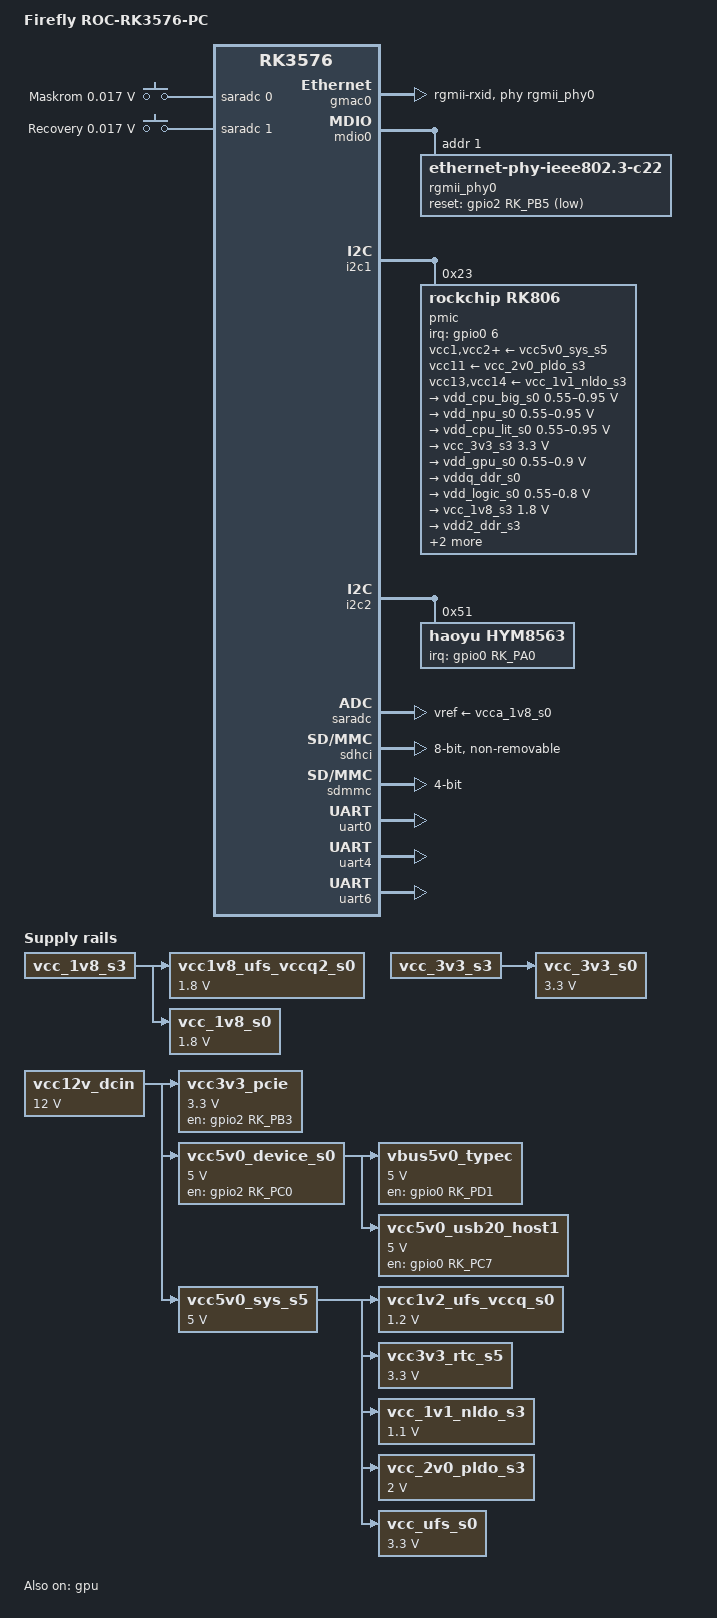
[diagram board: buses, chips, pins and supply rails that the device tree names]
// SPDX-License-Identifier: (GPL-2.0+ OR MIT)
/*
 * Copyright (c) 2024 Firefly Technology Co. Ltd
 * Copyright (c) 2024 Heiko Stuebner <heiko@sntech.de>
 */

/dts-v1/;

#include <dt-bindings/gpio/gpio.h>
#include <dt-bindings/input/input.h>
#include <dt-bindings/pinctrl/rockchip.h>
#include <dt-bindings/pwm/pwm.h>
#include <dt-bindings/usb/pd.h>
#include "rk3576.dtsi"

/ {
	model = "Firefly ROC-RK3576-PC";
	compatible = "firefly,roc-rk3576-pc", "rockchip,rk3576";

	aliases {
		mmc0 = &sdhci;
		mmc1 = &sdmmc;
	};

	chosen {
		stdout-path = "serial0:1500000n8";
	};

	adc-keys-0 {
		compatible = "adc-keys";
		io-channels = <&saradc 0>;
		io-channel-names = "buttons";
		keyup-threshold-microvolt = <1800000>;
		poll-interval = <100>;

		button-maskrom {
			label = "Maskrom";
			linux,code = <KEY_SETUP>;
			press-threshold-microvolt = <17000>;
		};
	};

	adc-keys-1 {
		compatible = "adc-keys";
		io-channels = <&saradc 1>;
		io-channel-names = "buttons";
		keyup-threshold-microvolt = <1800000>;
		poll-interval = <100>;

		button-recovery {
			label = "Recovery";
			linux,code = <KEY_VENDOR>;
			press-threshold-microvolt = <17000>;
		};
	};

	vbus5v0_typec: regulator-vbus5v0-typec {
		compatible = "regulator-fixed";
		enable-active-high;
		gpio = <&gpio0 RK_PD1 GPIO_ACTIVE_HIGH>;
		pinctrl-names = "default";
		pinctrl-0 = <&usb_otg0_pwren_h>;
		regulator-name = "vbus5v0_typec";
		regulator-min-microvolt = <5000000>;
		regulator-max-microvolt = <5000000>;
		vin-supply = <&vcc5v0_device_s0>;
	};

	vcc12v_dcin: regulator-vcc12v-dcin {
		compatible = "regulator-fixed";
		regulator-name = "vcc12v_dcin";
		regulator-always-on;
		regulator-boot-on;
		regulator-min-microvolt = <12000000>;
		regulator-max-microvolt = <12000000>;
	};

	vcc1v2_ufs_vccq_s0: regulator-vcc1v2-ufs-vccq-s0 {
		compatible = "regulator-fixed";
		regulator-name = "vcc1v2_ufs_vccq_s0";
		regulator-boot-on;
		regulator-always-on;
		regulator-min-microvolt = <1200000>;
		regulator-max-microvolt = <1200000>;
		vin-supply = <&vcc5v0_sys_s5>;
	};

	vcc1v8_ufs_vccq2_s0: regulator-vcc1v8-ufs-vccq2-s0 {
		compatible = "regulator-fixed";
		regulator-name = "vcc1v8_ufs_vccq2_s0";
		regulator-boot-on;
		regulator-always-on;
		regulator-min-microvolt = <1800000>;
		regulator-max-microvolt = <1800000>;
		vin-supply = <&vcc_1v8_s3>;
	};

	vcc3v3_pcie: regulator-vcc3v3-pcie {
		compatible = "regulator-fixed";
		enable-active-high;
		gpio = <&gpio2 RK_PB3 GPIO_ACTIVE_HIGH>;
		pinctrl-names = "default";
		pinctrl-0 = <&pcie_pwren_h>;
		regulator-name = "vcc3v3_pcie";
		regulator-min-microvolt = <3300000>;
		regulator-max-microvolt = <3300000>;
		startup-delay-us = <5000>;
		vin-supply = <&vcc12v_dcin>;
	};

	vcc3v3_rtc_s5: regulator-vcc3v3-rtc-s5 {
		compatible = "regulator-fixed";
		regulator-name = "vcc3v3_rtc_s5";
		regulator-boot-on;
		regulator-always-on;
		regulator-min-microvolt = <3300000>;
		regulator-max-microvolt = <3300000>;
		vin-supply = <&vcc5v0_sys_s5>;
	};

	vcc5v0_device_s0: regulator-vcc5v0-device-s0 {
		compatible = "regulator-fixed";
		enable-active-high;
		gpio = <&gpio2 RK_PC0 GPIO_ACTIVE_HIGH>;
		pinctrl-names = "default";
		pinctrl-0 = <&vcc5vd_en>;
		regulator-name = "vcc5v0_device";
		regulator-always-on;
		regulator-boot-on;
		regulator-min-microvolt = <5000000>;
		regulator-max-microvolt = <5000000>;
		vin-supply = <&vcc12v_dcin>;
	};

	vcc5v0_sys_s5: regulator-vcc5v0-sys-s5 {
		compatible = "regulator-fixed";
		regulator-name = "vcc_sys";
		regulator-always-on;
		regulator-boot-on;
		regulator-min-microvolt = <5000000>;
		regulator-max-microvolt = <5000000>;
		vin-supply = <&vcc12v_dcin>;
	};

	vcc5v0_usb20_host1: regulator-vcc5v0-usb20-host1 {
		compatible = "regulator-fixed";
		enable-active-high;
		gpio = <&gpio0 RK_PC7 GPIO_ACTIVE_HIGH>;
		pinctrl-names = "default";
		pinctrl-0 = <&usb3_host_pwren_h>;
		regulator-name = "vcc5v0_host1";
		regulator-min-microvolt = <5000000>;
		regulator-max-microvolt = <5000000>;
		vin-supply = <&vcc5v0_device_s0>;
	};

	vcc_1v1_nldo_s3: regulator-vcc-1v1-nldo-s3 {
		compatible = "regulator-fixed";
		regulator-name = "vcc_1v1_nldo_s3";
		regulator-boot-on;
		regulator-always-on;
		regulator-min-microvolt = <1100000>;
		regulator-max-microvolt = <1100000>;
		vin-supply = <&vcc5v0_sys_s5>;
	};

	vcc_1v8_s0: regulator-vcc-1v8-s0 {
		compatible = "regulator-fixed";
		regulator-name = "vcc_1v8_s0";
		regulator-boot-on;
		regulator-always-on;
		regulator-min-microvolt = <1800000>;
		regulator-max-microvolt = <1800000>;
		vin-supply = <&vcc_1v8_s3>;
	};

	vcc_2v0_pldo_s3: regulator-vcc-2v0-pldo-s3 {
		compatible = "regulator-fixed";
		regulator-name = "vcc_2v0_pldo_s3";
		regulator-boot-on;
		regulator-always-on;
		regulator-min-microvolt = <2000000>;
		regulator-max-microvolt = <2000000>;
		vin-supply = <&vcc5v0_sys_s5>;
	};

	vcc_3v3_s0: regulator-vcc-3v3-s0 {
		compatible = "regulator-fixed";
		regulator-name = "vcc_3v3_s0";
		regulator-boot-on;
		regulator-always-on;
		regulator-min-microvolt = <3300000>;
		regulator-max-microvolt = <3300000>;
		vin-supply = <&vcc_3v3_s3>;
	};

	vcc_ufs_s0: regulator-vcc-ufs-s0 {
		compatible = "regulator-fixed";
		regulator-name = "vcc_ufs_s0";
		regulator-boot-on;
		regulator-always-on;
		regulator-min-microvolt = <3300000>;
		regulator-max-microvolt = <3300000>;
		vin-supply = <&vcc5v0_sys_s5>;
	};
};

&cpu_l0 {
	cpu-supply = <&vdd_cpu_lit_s0>;
};

&cpu_l1 {
	cpu-supply = <&vdd_cpu_lit_s0>;
};

&cpu_l2 {
	cpu-supply = <&vdd_cpu_lit_s0>;
};

&cpu_l3 {
	cpu-supply = <&vdd_cpu_lit_s0>;
};

&cpu_b0 {
	cpu-supply = <&vdd_cpu_big_s0>;
};

&cpu_b1 {
	cpu-supply = <&vdd_cpu_big_s0>;
};

&cpu_b2 {
	cpu-supply = <&vdd_cpu_big_s0>;
};

&cpu_b3 {
	cpu-supply = <&vdd_cpu_big_s0>;
};

&gpu {
	mali-supply = <&vdd_gpu_s0>;
	status = "okay";
};

&gmac0 {
	clock_in_out = "output";
	pinctrl-names = "default";
	pinctrl-0 = <&eth0m0_miim
		     &eth0m0_tx_bus2
		     &eth0m0_rx_bus2
		     &eth0m0_rgmii_clk
		     &eth0m0_rgmii_bus
		     &ethm0_clk0_25m_out>;
	/* Use rgmii-rxid mode to disable rx delay inside Soc */
	phy-mode = "rgmii-rxid";
	phy-handle = <&rgmii_phy0>;
	tx_delay = <0x21>;
	status = "okay";
};

&mdio0 {
	status = "okay";

	rgmii_phy0: phy@1 {
		compatible = "ethernet-phy-ieee802.3-c22";
		reg = <0x1>;
		clocks = <&cru REFCLKO25M_GMAC0_OUT>;
		/* Reset time is 20ms, 100ms for rtl8211f */
		reset-delay-us = <20000>;
		reset-gpios = <&gpio2 RK_PB5 GPIO_ACTIVE_LOW>;
		reset-post-delay-us = <100000>;
	};
};

&i2c1 {
	status = "okay";

	pmic@23 {
		compatible = "rockchip,rk806";
		reg = <0x23>;
		interrupt-parent = <&gpio0>;
		interrupts = <6 IRQ_TYPE_LEVEL_LOW>;
		gpio-controller;
		#gpio-cells = <2>;
		pinctrl-names = "default";
		pinctrl-0 = <&pmic_pins>, <&rk806_dvs1_null>,
			    <&rk806_dvs2_null>, <&rk806_dvs3_null>;
		system-power-controller;

		vcc1-supply = <&vcc5v0_sys_s5>;
		vcc2-supply = <&vcc5v0_sys_s5>;
		vcc3-supply = <&vcc5v0_sys_s5>;
		vcc4-supply = <&vcc5v0_sys_s5>;
		vcc5-supply = <&vcc5v0_sys_s5>;
		vcc6-supply = <&vcc5v0_sys_s5>;
		vcc7-supply = <&vcc5v0_sys_s5>;
		vcc8-supply = <&vcc5v0_sys_s5>;
		vcc9-supply = <&vcc5v0_sys_s5>;
		vcc10-supply = <&vcc5v0_sys_s5>;
		vcc11-supply = <&vcc_2v0_pldo_s3>;
		vcc12-supply = <&vcc5v0_sys_s5>;
		vcc13-supply = <&vcc_1v1_nldo_s3>;
		vcc14-supply = <&vcc_1v1_nldo_s3>;
		vcca-supply = <&vcc5v0_sys_s5>;

		rk806_dvs1_null: dvs1-null-pins {
			pins = "gpio_pwrctrl1";
			function = "pin_fun0";
		};

		rk806_dvs2_null: dvs2-null-pins {
			pins = "gpio_pwrctrl2";
			function = "pin_fun0";
		};

		rk806_dvs3_null: dvs3-null-pins {
			pins = "gpio_pwrctrl3";
			function = "pin_fun0";
		};

		rk806_dvs1_slp: dvs1-slp-pins {
			pins = "gpio_pwrctrl1";
			function = "pin_fun1";
		};

		rk806_dvs1_pwrdn: dvs1-pwrdn-pins {
			pins = "gpio_pwrctrl1";
			function = "pin_fun2";
		};

		rk806_dvs1_rst: dvs1-rst-pins {
			pins = "gpio_pwrctrl1";
			function = "pin_fun3";
		};

		rk806_dvs2_slp: dvs2-slp-pins {
			pins = "gpio_pwrctrl2";
			function = "pin_fun1";
		};

		rk806_dvs2_pwrdn: dvs2-pwrdn-pins {
			pins = "gpio_pwrctrl2";
			function = "pin_fun2";
		};

		rk806_dvs2_rst: dvs2-rst-pins {
			pins = "gpio_pwrctrl2";
			function = "pin_fun3";
		};

		rk806_dvs2_dvs: dvs2-dvs-pins {
			pins = "gpio_pwrctrl2";
			function = "pin_fun4";
		};

		rk806_dvs2_gpio: dvs2-gpio-pins {
			pins = "gpio_pwrctrl2";
			function = "pin_fun5";
		};

		rk806_dvs3_slp: dvs3-slp-pins {
			pins = "gpio_pwrctrl3";
			function = "pin_fun1";
		};

		rk806_dvs3_pwrdn: dvs3-pwrdn-pins {
			pins = "gpio_pwrctrl3";
			function = "pin_fun2";
		};

		rk806_dvs3_rst: dvs3-rst-pins {
			pins = "gpio_pwrctrl3";
			function = "pin_fun3";
		};

		rk806_dvs3_dvs: dvs3-dvs-pins {
			pins = "gpio_pwrctrl3";
			function = "pin_fun4";
		};

		rk806_dvs3_gpio: dvs3-gpio-pins {
			pins = "gpio_pwrctrl3";
			function = "pin_fun5";
		};

		regulators {
			vdd_cpu_big_s0: dcdc-reg1 {
				regulator-always-on;
				regulator-boot-on;
				regulator-min-microvolt = <550000>;
				regulator-max-microvolt = <950000>;
				regulator-ramp-delay = <12500>;
				regulator-name = "vdd_cpu_big_s0";
				regulator-enable-ramp-delay = <400>;
				regulator-state-mem {
					regulator-off-in-suspend;
				};
			};

			vdd_npu_s0: dcdc-reg2 {
				regulator-boot-on;
				regulator-min-microvolt = <550000>;
				regulator-max-microvolt = <950000>;
				regulator-ramp-delay = <12500>;
				regulator-name = "vdd_npu_s0";
				regulator-enable-ramp-delay = <400>;
				regulator-state-mem {
					regulator-off-in-suspend;
				};
			};

			vdd_cpu_lit_s0: dcdc-reg3 {
				regulator-always-on;
				regulator-boot-on;
				regulator-min-microvolt = <550000>;
				regulator-max-microvolt = <950000>;
				regulator-ramp-delay = <12500>;
				regulator-name = "vdd_cpu_lit_s0";
				regulator-state-mem {
					regulator-off-in-suspend;
					regulator-suspend-microvolt = <750000>;
				};
			};

			vcc_3v3_s3: dcdc-reg4 {
				regulator-always-on;
				regulator-boot-on;
				regulator-min-microvolt = <3300000>;
				regulator-max-microvolt = <3300000>;
				regulator-name = "vcc_3v3_s3";
				regulator-state-mem {
					regulator-on-in-suspend;
					regulator-suspend-microvolt = <3300000>;
				};
			};

			vdd_gpu_s0: dcdc-reg5 {
				regulator-boot-on;
				regulator-min-microvolt = <550000>;
				regulator-max-microvolt = <900000>;
				regulator-ramp-delay = <12500>;
				regulator-name = "vdd_gpu_s0";
				regulator-enable-ramp-delay = <400>;
				regulator-state-mem {
					regulator-off-in-suspend;
					regulator-suspend-microvolt = <850000>;
				};
			};

			vddq_ddr_s0: dcdc-reg6 {
				regulator-always-on;
				regulator-boot-on;
				regulator-name = "vddq_ddr_s0";
				regulator-state-mem {
					regulator-off-in-suspend;
				};
			};

			vdd_logic_s0: dcdc-reg7 {
				regulator-always-on;
				regulator-boot-on;
				regulator-min-microvolt = <550000>;
				regulator-max-microvolt = <800000>;
				regulator-name = "vdd_logic_s0";
				regulator-state-mem {
					regulator-off-in-suspend;
				};
			};

			vcc_1v8_s3: dcdc-reg8 {
				regulator-always-on;
				regulator-boot-on;
				regulator-min-microvolt = <1800000>;
				regulator-max-microvolt = <1800000>;
				regulator-name = "vcc_1v8_s3";
				regulator-state-mem {
					regulator-on-in-suspend;
					regulator-suspend-microvolt = <1800000>;
				};
			};

			vdd2_ddr_s3: dcdc-reg9 {
				regulator-always-on;
				regulator-boot-on;
				regulator-name = "vdd2_ddr_s3";
				regulator-state-mem {
					regulator-on-in-suspend;
				};
			};

			vdd_ddr_s0: dcdc-reg10 {
				regulator-always-on;
				regulator-boot-on;
				regulator-min-microvolt = <550000>;
				regulator-max-microvolt = <1200000>;
				regulator-name = "vdd_ddr_s0";
				regulator-state-mem {
					regulator-off-in-suspend;
				};
			};

			vcca_1v8_s0: pldo-reg1 {
				regulator-always-on;
				regulator-boot-on;
				regulator-min-microvolt = <1800000>;
				regulator-max-microvolt = <1800000>;
				regulator-name = "vcca_1v8_s0";
				regulator-state-mem {
					regulator-off-in-suspend;
				};
			};

			vcca1v8_pldo2_s0: pldo-reg2 {
				regulator-always-on;
				regulator-boot-on;
				regulator-min-microvolt = <1800000>;
				regulator-max-microvolt = <1800000>;
				regulator-name = "vcca1v8_pldo2_s0";
				regulator-state-mem {
					regulator-off-in-suspend;
				};
			};

			vdda_1v2_s0: pldo-reg3 {
				regulator-always-on;
				regulator-boot-on;
				regulator-min-microvolt = <1200000>;
				regulator-max-microvolt = <1200000>;
				regulator-name = "vdda_1v2_s0";
				regulator-state-mem {
					regulator-off-in-suspend;
				};
			};

			vcca_3v3_s0: pldo-reg4 {
				regulator-always-on;
				regulator-boot-on;
				regulator-min-microvolt = <3300000>;
				regulator-max-microvolt = <3300000>;
				regulator-name = "vcca_3v3_s0";
				regulator-state-mem {
					regulator-off-in-suspend;
				};
			};

			vccio_sd_s0: pldo-reg5 {
				regulator-always-on;
				regulator-boot-on;
				regulator-min-microvolt = <1800000>;
				regulator-max-microvolt = <3300000>;
				regulator-name = "vccio_sd_s0";
				regulator-state-mem {
					regulator-off-in-suspend;
				};
			};

			vcca1v8_pldo6_s3: pldo-reg6 {
				regulator-always-on;
				regulator-boot-on;
				regulator-min-microvolt = <1800000>;
				regulator-max-microvolt = <1800000>;
				regulator-name = "vcca1v8_pldo6_s3";
				regulator-state-mem {
					regulator-on-in-suspend;
					regulator-suspend-microvolt = <1800000>;
				};
			};

			vdd_0v75_s3: nldo-reg1 {
				regulator-always-on;
				regulator-boot-on;
				regulator-min-microvolt = <750000>;
				regulator-max-microvolt = <750000>;
				regulator-name = "vdd_0v75_s3";
				regulator-state-mem {
					regulator-on-in-suspend;
					regulator-suspend-microvolt = <750000>;
				};
			};

			vdda_ddr_pll_s0: nldo-reg2 {
				regulator-always-on;
				regulator-boot-on;
				regulator-min-microvolt = <850000>;
				regulator-max-microvolt = <850000>;
				regulator-name = "vdda_ddr_pll_s0";
				regulator-state-mem {
					regulator-off-in-suspend;
				};
			};

			vdda0v75_hdmi_s0: nldo-reg3 {
				regulator-always-on;
				regulator-boot-on;
				regulator-min-microvolt = <837500>;
				regulator-max-microvolt = <837500>;
				regulator-name = "vdda0v75_hdmi_s0";
				regulator-state-mem {
					regulator-off-in-suspend;
				};
			};

			vdda_0v85_s0: nldo-reg4 {
				regulator-always-on;
				regulator-boot-on;
				regulator-min-microvolt = <850000>;
				regulator-max-microvolt = <850000>;
				regulator-name = "vdda_0v85_s0";
				regulator-state-mem {
					regulator-off-in-suspend;
				};
			};

			vdda_0v75_s0: nldo-reg5 {
				regulator-always-on;
				regulator-boot-on;
				regulator-min-microvolt = <750000>;
				regulator-max-microvolt = <750000>;
				regulator-name = "vdda_0v75_s0";
				regulator-state-mem {
					regulator-off-in-suspend;
				};
			};
		};
	};
};

&i2c2 {
	status = "okay";

	/* pc9202 watchdog@3c with enable-gpio gpio0-c3 */

	/* hnyetek,husb311 typec-portc@4e */

	hym8563: rtc@51 {
		compatible = "haoyu,hym8563";
		reg = <0x51>;
		#clock-cells = <0>;
		clock-output-names = "hym8563";
		pinctrl-names = "default";
		pinctrl-0 = <&rtc_int_l>;
		interrupt-parent = <&gpio0>;
		interrupts = <RK_PA0 IRQ_TYPE_LEVEL_LOW>;
		wakeup-source;
	};
};

&saradc {
	vref-supply = <&vcca_1v8_s0>;
	status = "okay";
};

&sdhci {
	bus-width = <8>;
	no-sdio;
	no-sd;
	non-removable;
	max-frequency = <200000000>;
	mmc-hs400-1_8v;
	mmc-hs400-enhanced-strobe;
	full-pwr-cycle-in-suspend;
	status = "okay";
};

&sdmmc {
	max-frequency = <200000000>;
	no-sdio;
	no-mmc;
	bus-width = <4>;
	cap-mmc-highspeed;
	cap-sd-highspeed;
	disable-wp;
	sd-uhs-sdr104;
	vqmmc-supply = <&vccio_sd_s0>;
	status = "okay";
};

&pinctrl {
	hym8563 {
		rtc_int_l: rtc-int-l {
			rockchip,pins = <0 RK_PA0 RK_FUNC_GPIO &pcfg_pull_up>;
		};
	};

	power {
		vcc5vd_en: vcc5vd-en {
			rockchip,pins = <2 RK_PC0 RK_FUNC_GPIO &pcfg_pull_none>;
		};

		pcie_pwren_h: pcie-pwren-h {
			rockchip,pins = <2 RK_PB3 RK_FUNC_GPIO &pcfg_pull_none>;
		};
	};

	usb {
		hub_reset_h: hub-reset-h {
			rockchip,pins = <2 RK_PB1 RK_FUNC_GPIO &pcfg_pull_none>;
		};

		usb3_host_pwren_h: usb3-host-pwren-h {
			rockchip,pins = <0 RK_PC7 RK_FUNC_GPIO &pcfg_pull_none>;
		};

		usb_otg0_pwren_h: usb-otg0-pwren-h {
			rockchip,pins = <0 RK_PD1 RK_FUNC_GPIO &pcfg_pull_none>;
		};

		usbc0_int_l: usbc0-int-l {
			rockchip,pins = <0 RK_PA5 RK_FUNC_GPIO &pcfg_pull_up>;
		};
	};

	watchdog {
		wd_en: wd-en {
			rockchip,pins = <0 RK_PC3 RK_FUNC_GPIO &pcfg_pull_none>;
		};
	};
};

&uart0 {
	pinctrl-0 = <&uart0m0_xfer>;
	status = "okay";
};

&uart4 {
	pinctrl-names = "default";
	pinctrl-0 = <&uart4m1_xfer &uart4m1_ctsn>;
	status = "okay";
};

/* On the extension pin header */
&uart6 {
	pinctrl-names = "default";
	pinctrl-0 = <&uart6m3_xfer>;
	status = "okay";
};
